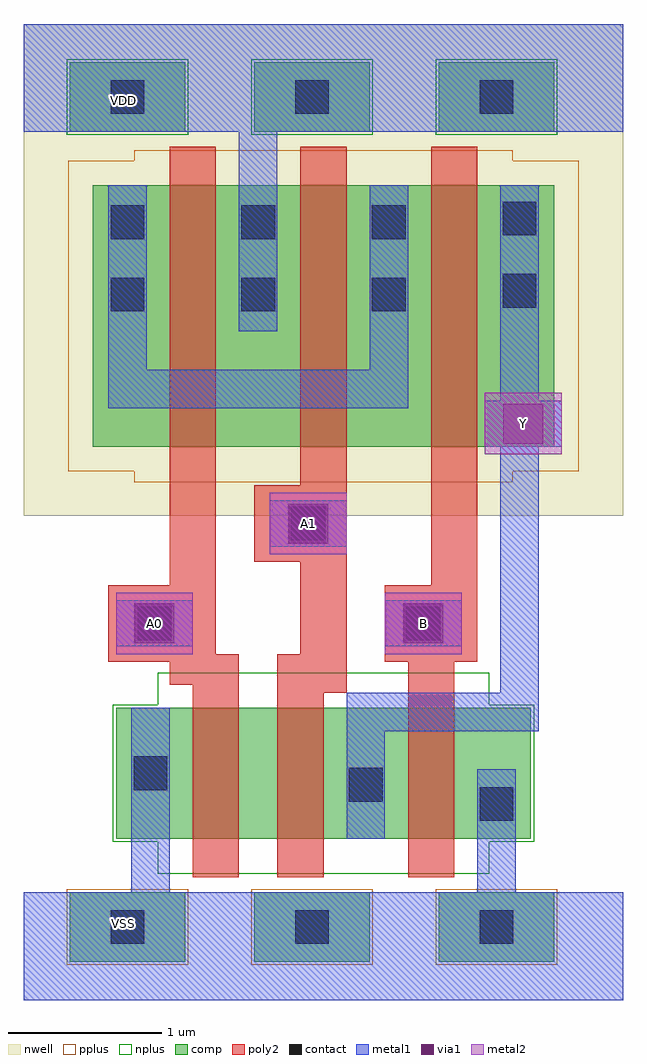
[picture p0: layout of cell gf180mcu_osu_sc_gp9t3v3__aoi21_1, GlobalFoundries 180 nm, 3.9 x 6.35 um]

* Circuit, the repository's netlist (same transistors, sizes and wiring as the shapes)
* Copyright 2022 Google LLC
*
* Licensed under the Apache License, Version 2.0 (the "License");
* you may not use this file except in compliance with the License.
* You may obtain a copy of the License at
*
*      http://www.apache.org/licenses/LICENSE-2.0
*
* Unless required by applicable law or agreed to in writing, software
* distributed under the License is distributed on an "AS IS" BASIS,
* WITHOUT WARRANTIES OR CONDITIONS OF ANY KIND, either express or implied.
* See the License for the specific language governing permissions and
* limitations under the License.

.option scale=0.05u

.subckt gf180mcu_osu_sc_gp9t3v3__aoi21_1 Y A0 A1 B
X0 a_9_70 A1 VDD VDD pmos_3p3 w=34 l=6
X1 VSS B Y VSS nmos_3p3 w=17 l=6
X2 Y B a_9_70 VDD pmos_3p3 w=34 l=6
X3 VDD A0 a_9_70 VDD pmos_3p3 w=34 l=6
X4 a_28_19 A0 VSS VSS nmos_3p3 w=17 l=6
X5 Y A1 a_28_19 VSS nmos_3p3 w=17 l=6
.ends

** hspice subcircuit dictionary

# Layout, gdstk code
import gdstk
lib = gdstk.Library(unit=1e-6, precision=1e-09)
def R(c, l, rs):  # rectangles x0, y0, x1, y1
    for r in rs: c.add(gdstk.rectangle(r[:2], r[2:], *l))
def A(c, l, x, y, w, h, nx, ny, dx, dy):  # array of equal rectangles
    R(c, l, [(x+i*dx, y+j*dy, x+i*dx+w, y+j*dy+h) for i in range(nx) for j in range(ny)])
nwell = (21, 0)
comp = (22, 0)
poly2 = (30, 0)
pplus = (31, 0)
nplus = (32, 0)
contact = (33, 0)
metal1 = (34, 0)
via1 = (35, 0)
metal2 = (36, 0)

gf180mcu_osu_sc_gp9t3v3_ = lib.new_cell('gf180mcu_osu_sc_gp9t3v3__aoi21_1')
R(gf180mcu_osu_sc_gp9t3v3_, nwell, [(0,3.15,3.9,6.35)])
A(gf180mcu_osu_sc_gp9t3v3_, comp, 0.3, 0.25, 0.75, 0.45, 3, 2, 1.2, 5.4)
R(gf180mcu_osu_sc_gp9t3v3_, comp, [(0.6,1.05,3.3,1.9), (0.45,3.6,3.45,5.3)])
R(gf180mcu_osu_sc_gp9t3v3_, poly2, [(1.1,0.8,1.4,2.05), (1.65,0.8,1.95,2), (2.5,0.8,2.8,2.2), (1.65,2,2.1,2.25), (0.95,2.05,1.4,2.2), (0.55,2.2,1.4,2.25), (2.35,2.2,2.95,2.7), (0.55,2.25,1.25,2.7), (1.8,2.25,2.1,2.85), (0.95,2.7,1.25,5.55), (2.65,2.7,2.95,5.55), (1.5,2.85,2.1,3.35), (1.8,3.35,2.1,5.55)])
A(gf180mcu_osu_sc_gp9t3v3_, pplus, 0.28, 0.23, 0.79, 0.49, 3, 1, 1.2, 0)
R(gf180mcu_osu_sc_gp9t3v3_, pplus, [(0.72,3.37,3.18,3.44), (0.29,3.44,3.61,5.46), (0.72,5.46,3.18,5.53)])
A(gf180mcu_osu_sc_gp9t3v3_, nplus, 0.28, 5.63, 0.79, 0.49, 3, 1, 1.2, 0)
R(gf180mcu_osu_sc_gp9t3v3_, nplus, [(0.87,0.82,3.03,1.03), (0.58,1.03,3.32,1.92), (0.87,1.92,3.03,2.13)])
A(gf180mcu_osu_sc_gp9t3v3_, contact, 0.565, 0.365, 0.22, 0.22, 3, 2, 1.2, 5.4)
A(gf180mcu_osu_sc_gp9t3v3_, contact, 0.565, 4.48, 0.22, 0.22, 3, 2, 0.85, 0.47)
R(gf180mcu_osu_sc_gp9t3v3_, contact, [(2.965,1.165,3.185,1.385), (2.115,1.29,2.335,1.51), (0.715,1.365,0.935,1.585), (0.74,2.34,0.96,2.56), (2.49,2.34,2.71,2.56), (1.74,2.99,1.96,3.21), (3.115,4.505,3.335,4.725), (3.115,4.975,3.335,5.195)])
R(gf180mcu_osu_sc_gp9t3v3_, metal1, [(0,0,3.9,0.7), (0.7,0.7,0.95,1.9), (2.95,0.7,3.2,1.5), (2.1,1.05,2.35,1.75), (2.1,1.75,3.35,2), (3.1,2,3.35,3.6), (0.6,2.3,1.1,2.6), (2.35,2.3,2.85,2.6), (1.6,2.95,2.1,3.25), (3,3.6,3.5,3.9), (0.55,3.85,2.5,4.1), (3.1,3.9,3.35,5.3), (0.55,4.1,0.8,5.3), (2.25,4.1,2.5,5.3), (1.4,4.35,1.65,5.65), (0,5.65,3.9,6.35)])
R(gf180mcu_osu_sc_gp9t3v3_, via1, [(0.72,2.32,0.98,2.58), (2.47,2.32,2.73,2.58), (1.72,2.97,1.98,3.23), (3.12,3.62,3.38,3.88)])
R(gf180mcu_osu_sc_gp9t3v3_, metal2, [(0.6,2.25,1.1,2.65), (2.35,2.25,2.85,2.65), (1.6,2.9,2.1,3.3), (3,3.55,3.5,3.95)])
gf180mcu_osu_sc_gp9t3v3_.add(gdstk.Label('Y', (3.25,3.75), layer=36, texttype=10))
gf180mcu_osu_sc_gp9t3v3_.add(gdstk.Label('A0', (0.85,2.45), layer=36, texttype=10))
gf180mcu_osu_sc_gp9t3v3_.add(gdstk.Label('A1', (1.85,3.1), layer=36, texttype=10))
gf180mcu_osu_sc_gp9t3v3_.add(gdstk.Label('B', (2.6,2.45), layer=36, texttype=10))
gf180mcu_osu_sc_gp9t3v3_.add(gdstk.Label('VDD', (0.65,5.85), layer=34, texttype=10))
gf180mcu_osu_sc_gp9t3v3_.add(gdstk.Label('VSS', (0.65,0.5), layer=34, texttype=10))

lib.write_gds('gf180mcu_osu_sc_gp9t3v3__aoi21_1.gds')
